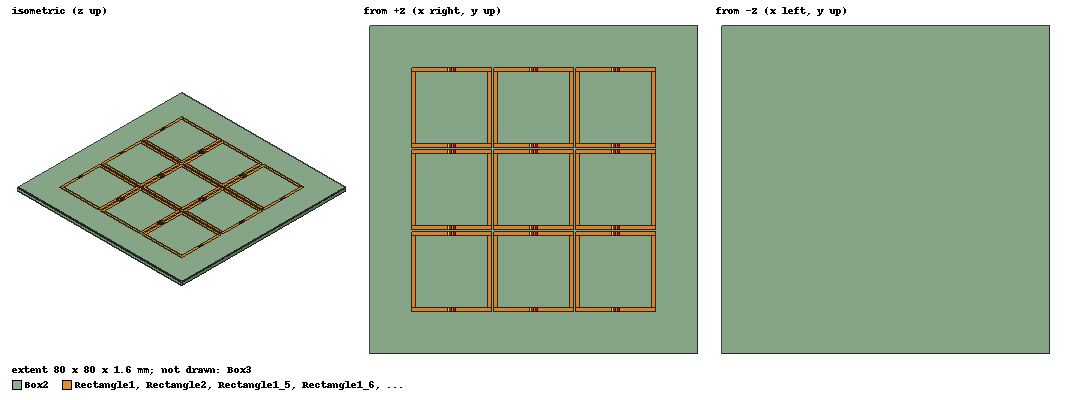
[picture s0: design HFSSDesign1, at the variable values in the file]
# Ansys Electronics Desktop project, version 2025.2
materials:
  vacuum: permittivity=1
  FR4_epoxy: permittivity=4.4 dielectric_loss_tangent=0.02
  air: permittivity=1.0006 permeability=1.0000004

design HFSSDesign1 (HFSS, HFSS Terminal Network, model units mm)
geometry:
  Box2 [FR4_epoxy] = box(corner=(0mm, 0mm, 10mm), size=(80mm, 80mm, 1.6mm))
  Rectangle1 = rectangle(corner=(50.25mm, 68.75mm, 11.6mm), x_size=19.5mm, y_size=1mm)
  Rectangle2 = rectangle(corner=(50.25mm, 50.25mm, 11.6mm), x_size=19.5mm, y_size=1mm)
  Rectangle19 = rectangle(corner=(59mm, 68.75mm, 11.6mm), x_size=2mm, y_size=1mm)
  Rectangle20 = rectangle(corner=(59mm, 50.25mm, 11.6mm), x_size=2mm, y_size=1mm)
  Rectangle2.subtract(Rectangle20)
  Rectangle1.subtract(Rectangle19)
  Rectangle21 = rectangle(corner=(69.75mm, 68.75mm, 11.6mm), x_size=-1mm, y_size=-17.5mm)
  Rectangle22 = rectangle(corner=(51.25mm, 68.75mm, 11.6mm), x_size=-1mm, y_size=-17.5mm)
  Rectangle1_3, Rectangle1_4 = Rectangle1.duplicate_along_line(step=(-20mm, 0mm, 0mm), total=3)
  Rectangle2_3, Rectangle2_4 = Rectangle2.duplicate_along_line(step=(-20mm, 0mm, 0mm), total=3)
  Rectangle21_3, Rectangle21_4 = Rectangle21.duplicate_along_line(step=(-20mm, 0mm, 0mm), total=3)
  Rectangle22_3, Rectangle22_4 = Rectangle22.duplicate_along_line(step=(-20mm, 0mm, 0mm), total=3)
  Box3 [air] = box(corner=(-50mm, -50mm, -75mm), size=(200mm, 200mm, 200mm))
  [Box3, Box2, Rectangle1, Rectangle2, Rectangle21, Rectangle22, Rectangle1_3, Rectangle1_4, Rectangle2_3, Rectangle2_4, Rectangle21_3, Rectangle21_4, Rectangle22_3, Rectangle22_4].move(-40mm, -40mm, 0mm)
  [Box3, Box2, Rectangle1, Rectangle2, Rectangle21, Rectangle22, Rectangle1_3, Rectangle1_4, Rectangle2_3, Rectangle2_4, Rectangle21_3, Rectangle21_4, Rectangle22_3, Rectangle22_4].move(0mm, 0mm, -6.6mm)
  [Box3, Box2, Rectangle1, Rectangle2, Rectangle21, Rectangle22, Rectangle1_3, Rectangle1_4, Rectangle2_3, Rectangle2_4, Rectangle21_3, Rectangle21_4, Rectangle22_3, Rectangle22_4].move(-40mm, 0mm, 3.4mm)
  [Box3, Box2, Rectangle1, Rectangle2, Rectangle21, Rectangle22, Rectangle1_3, Rectangle1_4, Rectangle2_3, Rectangle2_4, Rectangle21_3, Rectangle21_4, Rectangle22_3, Rectangle22_4].move(90mm, 0mm, -5mm)
  [Box3, Box2, Rectangle1, Rectangle2, Rectangle21, Rectangle22, Rectangle1_3, Rectangle1_4, Rectangle2_3, Rectangle2_4, Rectangle21_3, Rectangle21_4, Rectangle22_3, Rectangle22_4].move(1mm, -0.375mm, 2.2mm)
  [Box3, Box2, Rectangle1, Rectangle2, Rectangle21, Rectangle22, Rectangle1_3, Rectangle1_4, Rectangle2_3, Rectangle2_4, Rectangle21_3, Rectangle21_4, Rectangle22_3, Rectangle22_4].move(-49.5mm, 0.375mm, 4.4mm)
  [Box3, Box2, Rectangle1, Rectangle2, Rectangle21, Rectangle22, Rectangle1_3, Rectangle1_4, Rectangle2_3, Rectangle2_4, Rectangle21_3, Rectangle21_4, Rectangle22_3, Rectangle22_4].move(-1.5mm, 0mm, -10mm)
  [Box3, Box2, Rectangle1, Rectangle2, Rectangle21, Rectangle22, Rectangle1_3, Rectangle1_4, Rectangle2_3, Rectangle2_4, Rectangle21_3, Rectangle21_4, Rectangle22_3, Rectangle22_4].move(0mm, 0mm, 5mm)
  [Box3, Box2, Rectangle1, Rectangle2, Rectangle21, Rectangle22, Rectangle1_3, Rectangle1_4, Rectangle2_3, Rectangle2_4, Rectangle21_3, Rectangle21_4, Rectangle22_3, Rectangle22_4].rotate(axis=X, angle=90deg)
  [Box3, Box2, Rectangle1, Rectangle2, Rectangle21, Rectangle22, Rectangle1_3, Rectangle1_4, Rectangle2_3, Rectangle2_4, Rectangle21_3, Rectangle21_4, Rectangle22_3, Rectangle22_4].rotate(axis=X, angle=180deg)
  [Box3, Box2, Rectangle1, Rectangle2, Rectangle21, Rectangle22, Rectangle1_3, Rectangle1_4, Rectangle2_3, Rectangle2_4, Rectangle21_3, Rectangle21_4, Rectangle22_3, Rectangle22_4].rotate(axis=X, angle=-270deg)
  Rectangle1_5, Rectangle1_6 = Rectangle1.duplicate_along_line(step=(0mm, -20mm, 0mm), total=3)
  Rectangle2_5, Rectangle2_6 = Rectangle2.duplicate_along_line(step=(0mm, -20mm, 0mm), total=3)
  Rectangle21_5, Rectangle21_6 = Rectangle21.duplicate_along_line(step=(0mm, -20mm, 0mm), total=3)
  Rectangle22_5, Rectangle22_6 = Rectangle22.duplicate_along_line(step=(0mm, -20mm, 0mm), total=3)
  Rectangle1_3_1, Rectangle1_3_2 = Rectangle1_3.duplicate_along_line(step=(0mm, -20mm, 0mm), total=3)
  Rectangle1_4_1, Rectangle1_4_2 = Rectangle1_4.duplicate_along_line(step=(0mm, -20mm, 0mm), total=3)
  Rectangle2_3_1, Rectangle2_3_2 = Rectangle2_3.duplicate_along_line(step=(0mm, -20mm, 0mm), total=3)
  Rectangle2_4_1, Rectangle2_4_2 = Rectangle2_4.duplicate_along_line(step=(0mm, -20mm, 0mm), total=3)
  Rectangle21_3_1, Rectangle21_3_2 = Rectangle21_3.duplicate_along_line(step=(0mm, -20mm, 0mm), total=3)
  Rectangle21_4_1, Rectangle21_4_2 = Rectangle21_4.duplicate_along_line(step=(0mm, -20mm, 0mm), total=3)
  Rectangle22_3_1, Rectangle22_3_2 = Rectangle22_3.duplicate_along_line(step=(0mm, -20mm, 0mm), total=3)
  Rectangle22_4_1, Rectangle22_4_2 = Rectangle22_4.duplicate_along_line(step=(0mm, -20mm, 0mm), total=3)
  C1 = rectangle(corner=(-21mm, 29.75mm, 5mm), x_size=0.5mm, y_size=-1mm)
  L1 = rectangle(corner=(-20.5mm, 29.75mm, 5mm), x_size=0.5mm, y_size=-1mm)
  R1 = rectangle(corner=(-20mm, 29.75mm, 5mm), x_size=0.5mm, y_size=-1mm)
  C2 = rectangle(corner=(-19.5mm, 29.75mm, 5mm), x_size=0.5mm, y_size=-1mm)
  C1_1 = C1.duplicate_along_line(step=(20mm, 3.5527137e-15mm, 0mm), total=2)
  L1_1 = L1.duplicate_along_line(step=(20mm, 3.5527137e-15mm, 0mm), total=2)
  R1_1 = R1.duplicate_along_line(step=(20mm, 3.5527137e-15mm, 0mm), total=2)
  C2_1 = C2.duplicate_along_line(step=(20mm, 3.5527137e-15mm, 0mm), total=2)
  C1_1_1 = C1_1.duplicate_along_line(step=(20mm, -7.1054274e-15mm, 0mm), total=2)
  L1_1_1 = L1_1.duplicate_along_line(step=(20mm, -7.1054274e-15mm, 0mm), total=2)
  R1_1_1 = R1_1.duplicate_along_line(step=(20mm, -7.1054274e-15mm, 0mm), total=2)
  C2_1_1 = C2_1.duplicate_along_line(step=(20mm, -7.1054274e-15mm, 0mm), total=2)
  C1_2, C1_3 = C1.duplicate_along_line(step=(0mm, -20mm, 0mm), total=3)
  L1_2, L1_3 = L1.duplicate_along_line(step=(0mm, -20mm, 0mm), total=3)
  R1_2, R1_3 = R1.duplicate_along_line(step=(0mm, -20mm, 0mm), total=3)
  C2_2, C2_3 = C2.duplicate_along_line(step=(0mm, -20mm, 0mm), total=3)
  C1_2_1 = C1_2.duplicate_along_line(step=(0mm, 1.5mm, 0mm), total=2)
  L1_2_1 = L1_2.duplicate_along_line(step=(0mm, 1.5mm, 0mm), total=2)
  R1_2_1 = R1_2.duplicate_along_line(step=(0mm, 1.5mm, 0mm), total=2)
  C2_2_1 = C2_2.duplicate_along_line(step=(0mm, 1.5mm, 0mm), total=2)
  C1_2_1_1, C1_2_1_2 = C1_2_1.duplicate_along_line(step=(0mm, -20mm, 0mm), total=3)
  L1_2_1_1, L1_2_1_2 = L1_2_1.duplicate_along_line(step=(0mm, -20mm, 0mm), total=3)
  R1_2_1_1, R1_2_1_2 = R1_2_1.duplicate_along_line(step=(0mm, -20mm, 0mm), total=3)
  C2_2_1_1, C2_2_1_2 = C2_2_1.duplicate_along_line(step=(0mm, -20mm, 0mm), total=3)
  R1_1_2, R1_1_3 = R1_1.duplicate_along_line(step=(0mm, -20mm, 0mm), total=3)
  C2_1_2, C2_1_3 = C2_1.duplicate_along_line(step=(0mm, -20mm, 0mm), total=3)
  L1_1_2, L1_1_3 = L1_1.duplicate_along_line(step=(0mm, -20mm, 0mm), total=3)
  C1_1_2, C1_1_3 = C1_1.duplicate_along_line(step=(0mm, -20mm, 0mm), total=3)
  C1_1_2_1 = C1_1_2.duplicate_along_line(step=(0mm, 1.5mm, 0mm), total=2)
  L1_1_2_1 = L1_1_2.duplicate_along_line(step=(0mm, 1.5mm, 0mm), total=2)
  R1_1_2_1 = R1_1_2.duplicate_along_line(step=(0mm, 1.5mm, 0mm), total=2)
  C2_1_2_1 = C2_1_2.duplicate_along_line(step=(0mm, 1.5mm, 0mm), total=2)
  R1_1_5, R1_1_6 = R1_1.duplicate_along_line(step=(0mm, -20mm, 0mm), total=3)
  C2_1_5, C2_1_6 = C2_1.duplicate_along_line(step=(0mm, -20mm, 0mm), total=3)
  L1_1_5, L1_1_6 = L1_1.duplicate_along_line(step=(0mm, -20mm, 0mm), total=3)
  C1_1_5, C1_1_6 = C1_1.duplicate_along_line(step=(0mm, -20mm, 0mm), total=3)
  C1_1_2_2 = C1_1_2.duplicate_along_line(step=(0mm, -20mm, 0mm), total=3)  # copies kept: 1
  L1_1_2_2 = L1_1_2.duplicate_along_line(step=(0mm, -20mm, 0mm), total=3)  # copies kept: 1
  R1_1_2_2 = R1_1_2.duplicate_along_line(step=(0mm, -20mm, 0mm), total=3)  # copies kept: 1
  C2_1_2_2 = C2_1_2.duplicate_along_line(step=(0mm, -20mm, 0mm), total=3)  # copies kept: 1
  C1_1_2_1_1, C1_1_2_1_2 = C1_1_2_1.duplicate_along_line(step=(0mm, -20mm, 0mm), total=3)
  L1_1_2_1_1, L1_1_2_1_2 = L1_1_2_1.duplicate_along_line(step=(0mm, -20mm, 0mm), total=3)
  R1_1_2_1_1, R1_1_2_1_2 = R1_1_2_1.duplicate_along_line(step=(0mm, -20mm, 0mm), total=3)
  C2_1_2_1_1, C2_1_2_1_2 = C2_1_2_1.duplicate_along_line(step=(0mm, -20mm, 0mm), total=3)
  L1_1_1_1 = L1_1_1.duplicate_along_line(step=(0mm, -18.5mm, 0mm), total=3)  # copies kept: 1
  C1_1_1_1 = C1_1_1.duplicate_along_line(step=(0mm, -18.5mm, 0mm), total=3)  # copies kept: 1
  R1_1_1_1 = R1_1_1.duplicate_along_line(step=(0mm, -18.5mm, 0mm), total=3)  # copies kept: 1
  C2_1_1_1 = C2_1_1.duplicate_along_line(step=(0mm, -18.5mm, 0mm), total=3)  # copies kept: 1
  C1_1_1_1_1 = C1_1_1_1.duplicate_along_line(step=(0mm, -1.5mm, 0mm), total=2)
  L1_1_1_1_1 = L1_1_1_1.duplicate_along_line(step=(0mm, -1.5mm, 0mm), total=2)
  R1_1_1_1_1 = R1_1_1_1.duplicate_along_line(step=(0mm, -1.5mm, 0mm), total=2)
  C2_1_1_1_1 = C2_1_1_1.duplicate_along_line(step=(0mm, -1.5mm, 0mm), total=2)
  C1_1_1_1_2, C1_1_1_1_3 = C1_1_1_1.duplicate_along_line(step=(0mm, -20mm, 0mm), total=3)
  L1_1_1_1_2, L1_1_1_1_3 = L1_1_1_1.duplicate_along_line(step=(0mm, -20mm, 0mm), total=3)
  R1_1_1_1_2, R1_1_1_1_3 = R1_1_1_1.duplicate_along_line(step=(0mm, -20mm, 0mm), total=3)
  C2_1_1_1_2, C2_1_1_1_3 = C2_1_1_1.duplicate_along_line(step=(0mm, -20mm, 0mm), total=3)
  C2_1_1_1_2_1 = C2_1_1_1_2.duplicate_along_line(step=(0mm, -1.5mm, 0mm), total=2)
  R1_1_1_1_2_1 = R1_1_1_1_2.duplicate_along_line(step=(0mm, -1.5mm, 0mm), total=2)
  L1_1_1_1_2_1 = L1_1_1_1_2.duplicate_along_line(step=(0mm, -1.5mm, 0mm), total=2)
  C1_1_1_1_2_1 = C1_1_1_1_2.duplicate_along_line(step=(0mm, -1.5mm, 0mm), total=2)
  group RIS = Box3
  group METASURFACE1 = Rectangle1, Rectangle2, Rectangle21, Rectangle22, Rectangle1_3, Rectangle1_4, Rectangle2_3, Rectangle2_4, Rectangle21_3, Rectangle21_4, Rectangle22_3, Rectangle22_4, Rectangle1_5, Rectangle1_6, Rectangle2_5, Rectangle2_6, Rectangle21_5, Rectangle21_6, Rectangle22_5, Rectangle22_6, Rectangle1_3_1, Rectangle1_3_2, Rectangle1_4_1, Rectangle1_4_2, Rectangle2_3_1, Rectangle2_3_2, Rectangle2_4_1, Rectangle2_4_2, Rectangle21_3_1, Rectangle21_3_2, Rectangle21_4_1, Rectangle21_4_2, Rectangle22_3_1, Rectangle22_3_2, Rectangle22_4_1, Rectangle22_4_2
  group meta = Box2, C1, L1, R1, C2, C1_1, L1_1, R1_1, C2_1, C1_1_1, L1_1_1, R1_1_1, C2_1_1, C1_2, C1_3, L1_2, L1_3, R1_2, R1_3, C2_2, C2_3, C1_2_1, L1_2_1, R1_2_1, C2_2_1, C1_2_1_1, C1_2_1_2, L1_2_1_1, L1_2_1_2, R1_2_1_1, R1_2_1_2, C2_2_1_1, C2_2_1_2, R1_1_2, R1_1_3, C2_1_2, C2_1_3, L1_1_2, L1_1_3, C1_1_2, C1_1_3, C1_1_2_1, L1_1_2_1, R1_1_2_1, C2_1_2_1, R1_1_5, R1_1_6, C2_1_5, C2_1_6, L1_1_5, L1_1_6, C1_1_5, C1_1_6, C1_1_2_2, L1_1_2_2, R1_1_2_2, C2_1_2_2, C1_1_2_1_1, C1_1_2_1_2, L1_1_2_1_1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
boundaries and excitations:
  Rad1: Radiation Objects=Box3
  meta_perfE: Perfect E Objects=[Rectangle2_4, Rectangle21_4, Rectangle22_3, Rectangle2_3, Rectangle21_3, Rectangle22, Rectangle2, Rectangle21, Rectangle1, Rectangle1_3, Rectangle1_4, Rectangle22_4]
  meta_perfE1: Perfect E Objects=[Rectangle2_4_1, Rectangle21_4_1, Rectangle22_3_1, Rectangle2_3_1, Rectangle21_3_1, Rectangle22_5, Rectangle2_5, Rectangle21_5, Rectangle1_5, Rectangle1_3_1, Rectangle1_4_1, Rectangle22_4_1]
  meta_perfE2: Perfect E Objects=[Rectangle2_4_2, Rectangle21_4_2, Rectangle22_3_2, Rectangle2_3_2, Rectangle21_3_2, Rectangle22_6, Rectangle2_6, Rectangle21_6, Rectangle1_6, Rectangle1_3_2, Rectangle1_4_2, Rectangle22_4_2]
  metac1: Lumped RLC Objects=C1 CurrentLine{(-20.5, 29.2, 5) -> (-21, 29.2, 5)} RLC_Type=Serial Capacitance=0.5uF
  metac2: Lumped RLC Objects=C2 CurrentLine{(-19, 29.2, 5) -> (-19.5, 29.2, 5)} RLC_Type=Serial Capacitance=0.5uF
  metal1: Lumped RLC Objects=L1 CurrentLine{(-20, 29.2, 5) -> (-20.5, 29.2, 5)} RLC_Type=Serial Inductance=0.4nH
  metar: Lumped RLC Objects=R1 CurrentLine{(-19.5, 29.2, 5) -> (-20, 29.2, 5)} RLC_Type=Serial Resistance=2ohm
  metac3: Lumped RLC Objects=C1_1 CurrentLine{(-0.5, 29.2, 5) -> (-1, 29.2, 5)} RLC_Type=Serial Capacitance=0.5uF
  metac4: Lumped RLC Objects=C2_1 CurrentLine{(1, 29.2, 5) -> (0.5, 29.2, 5)} RLC_Type=Serial Capacitance=0.5uF
  metal2: Lumped RLC Objects=L1_1 CurrentLine{(0, 29.2, 5) -> (-0.5, 29.2, 5)} RLC_Type=Serial Inductance=0.4nH
  metar1: Lumped RLC Objects=R1_1 CurrentLine{(0.5, 29.2, 5) -> (0, 29.2, 5)} RLC_Type=Serial Resistance=2ohm
  metac5: Lumped RLC Objects=C1_1_1 CurrentLine{(19.5, 29.2, 5) -> (19, 29.2, 5)} RLC_Type=Serial Capacitance=0.5uF
  metac6: Lumped RLC Objects=C2_1_1 CurrentLine{(21, 29.2, 5) -> (20.5, 29.2, 5)} RLC_Type=Serial Capacitance=0.5uF
  metal3: Lumped RLC Objects=L1_1_1 CurrentLine{(20, 29.2, 5) -> (19.5, 29.2, 5)} RLC_Type=Serial Inductance=0.4nH
  metar2: Lumped RLC Objects=R1_1_1 CurrentLine{(20.5, 29.2, 5) -> (20, 29.2, 5)} RLC_Type=Serial Resistance=2ohm
  metac7: Lumped RLC Objects=C1_2 CurrentLine{(-20.5, 9.2, 5) -> (-21, 9.2, 5)} RLC_Type=Serial Capacitance=0.5uF
  metac8: Lumped RLC Objects=C2_2 CurrentLine{(-19, 9.2, 5) -> (-19.5, 9.2, 5)} RLC_Type=Serial Capacitance=0.5uF
  metal4: Lumped RLC Objects=L1_2 CurrentLine{(-20, 9.2, 5) -> (-20.5, 9.2, 5)} RLC_Type=Serial Inductance=0.4nH
  metar3: Lumped RLC Objects=R1_2 CurrentLine{(-19.5, 9.2, 5) -> (-20, 9.2, 5)} RLC_Type=Serial Resistance=2ohm
  metac9: Lumped RLC Objects=C1_3 CurrentLine{(-20.5, -10.8, 5) -> (-21, -10.8, 5)} RLC_Type=Serial Capacitance=0.5uF
  metac10: Lumped RLC Objects=C2_3 CurrentLine{(-19, -10.8, 5) -> (-19.5, -10.8, 5)} RLC_Type=Serial Capacitance=0.5uF
  metal5: Lumped RLC Objects=L1_3 CurrentLine{(-20, -10.8, 5) -> (-20.5, -10.8, 5)} RLC_Type=Serial Inductance=0.4nH
  metar4: Lumped RLC Objects=R1_3 CurrentLine{(-19.5, -10.8, 5) -> (-20, -10.8, 5)} RLC_Type=Serial Resistance=2ohm
  metac11: Lumped RLC Objects=C1_2_1 CurrentLine{(-20.5, 10.7, 5) -> (-21, 10.7, 5)} RLC_Type=Serial Capacitance=0.5uF
  metac12: Lumped RLC Objects=C2_2_1 CurrentLine{(-19, 10.7, 5) -> (-19.5, 10.7, 5)} RLC_Type=Serial Capacitance=0.5uF
  metal6: Lumped RLC Objects=L1_2_1 CurrentLine{(-20, 10.7, 5) -> (-20.5, 10.7, 5)} RLC_Type=Serial Inductance=0.4nH
  metar5: Lumped RLC Objects=R1_2_1 CurrentLine{(-19.5, 10.7, 5) -> (-20, 10.7, 5)} RLC_Type=Serial Resistance=2ohm
  metac13: Lumped RLC Objects=C1_2_1_1 CurrentLine{(-20.5, -9.3, 5) -> (-21, -9.3, 5)} RLC_Type=Serial Capacitance=0.5uF
  metac14: Lumped RLC Objects=C2_2_1_1 CurrentLine{(-19, -9.3, 5) -> (-19.5, -9.3, 5)} RLC_Type=Serial Capacitance=0.5uF
  metal7: Lumped RLC Objects=L1_2_1_1 CurrentLine{(-20, -9.3, 5) -> (-20.5, -9.3, 5)} RLC_Type=Serial Inductance=0.4nH
  metar6: Lumped RLC Objects=R1_2_1_1 CurrentLine{(-19.5, -9.3, 5) -> (-20, -9.3, 5)} RLC_Type=Serial Resistance=2ohm
  metac15: Lumped RLC Objects=C1_2_1_2 CurrentLine{(-20.5, -29.3, 5) -> (-21, -29.3, 5)} RLC_Type=Serial Capacitance=0.5uF
  metac16: Lumped RLC Objects=C2_2_1_2 CurrentLine{(-19, -29.3, 5) -> (-19.5, -29.3, 5)} RLC_Type=Serial Capacitance=0.5uF
  metal8: Lumped RLC Objects=L1_2_1_2 CurrentLine{(-20, -29.3, 5) -> (-20.5, -29.3, 5)} RLC_Type=Serial Inductance=0.4nH
  metar7: Lumped RLC Objects=R1_2_1_2 CurrentLine{(-19.5, -29.3, 5) -> (-20, -29.3, 5)} RLC_Type=Serial Resistance=2ohm
  metac17: Lumped RLC Objects=C1_1_2 CurrentLine{(-0.5, 9.2, 5) -> (-1, 9.2, 5)} RLC_Type=Serial Capacitance=0.5uF
  metac18: Lumped RLC Objects=C2_1_2 CurrentLine{(1, 9.2, 5) -> (0.5, 9.2, 5)} RLC_Type=Serial Capacitance=0.5uF
  metal9: Lumped RLC Objects=L1_1_2 CurrentLine{(0, 9.2, 5) -> (-0.5, 9.2, 5)} RLC_Type=Serial Inductance=0.4nH
  metar8: Lumped RLC Objects=R1_1_2 CurrentLine{(0.5, 9.2, 5) -> (0, 9.2, 5)} RLC_Type=Serial Resistance=2ohm
  metac19: Lumped RLC Objects=C1_1_3 CurrentLine{(-0.5, -10.8, 5) -> (-1, -10.8, 5)} RLC_Type=Serial Capacitance=0.5uF
  metac20: Lumped RLC Objects=C2_1_3 CurrentLine{(1, -10.8, 5) -> (0.5, -10.8, 5)} RLC_Type=Serial Capacitance=0.5uF
  metal10: Lumped RLC Objects=L1_1_3 CurrentLine{(0, -10.8, 5) -> (-0.5, -10.8, 5)} RLC_Type=Serial Inductance=0.4nH
  metar9: Lumped RLC Objects=R1_1_3 CurrentLine{(0.5, -10.8, 5) -> (0, -10.8, 5)} RLC_Type=Serial Resistance=2ohm
  metac23: Lumped RLC Objects=C1_1_2_1 CurrentLine{(-0.5, 10.7, 5) -> (-1, 10.7, 5)} RLC_Type=Serial Capacitance=0.5uF
  metac24: Lumped RLC Objects=C2_1_2_1 CurrentLine{(1, 10.7, 5) -> (0.5, 10.7, 5)} RLC_Type=Serial Capacitance=0.5uF
  metal12: Lumped RLC Objects=L1_1_2_1 CurrentLine{(0, 10.7, 5) -> (-0.5, 10.7, 5)} RLC_Type=Serial Inductance=0.4nH
  metar11: Lumped RLC Objects=R1_1_2_1 CurrentLine{(0.5, 10.7, 5) -> (0, 10.7, 5)} RLC_Type=Serial Resistance=2ohm
  metac25: Lumped RLC Objects=C1_1_5 CurrentLine{(-0.5, 9.2, 5) -> (-1, 9.2, 5)} RLC_Type=Serial Capacitance=0.5uF
  metac26: Lumped RLC Objects=C2_1_5 CurrentLine{(1, 9.2, 5) -> (0.5, 9.2, 5)} RLC_Type=Serial Capacitance=0.5uF
  metal13: Lumped RLC Objects=L1_1_5 CurrentLine{(0, 9.2, 5) -> (-0.5, 9.2, 5)} RLC_Type=Serial Inductance=0.4nH
  metar12: Lumped RLC Objects=R1_1_5 CurrentLine{(0.5, 9.2, 5) -> (0, 9.2, 5)} RLC_Type=Serial Resistance=2ohm
  metac27: Lumped RLC Objects=C1_1_2_2 CurrentLine{(-0.5, -10.8, 5) -> (-1, -10.8, 5)} RLC_Type=Serial Capacitance=0.5uF
  metac28: Lumped RLC Objects=C2_1_2_2 CurrentLine{(1, -10.8, 5) -> (0.5, -10.8, 5)} RLC_Type=Serial Capacitance=0.5uF
  metal14: Lumped RLC Objects=L1_1_2_2 CurrentLine{(0, -10.8, 5) -> (-0.5, -10.8, 5)} RLC_Type=Serial Inductance=0.4nH
  metar13: Lumped RLC Objects=R1_1_2_2 CurrentLine{(0.5, -10.8, 5) -> (0, -10.8, 5)} RLC_Type=Serial Resistance=2ohm
  metac29: Lumped RLC Objects=C1_1_2_1_1 CurrentLine{(-0.5, -9.3, 5) -> (-1, -9.3, 5)} RLC_Type=Serial Capacitance=0.5uF
  metac30: Lumped RLC Objects=C2_1_2_1_1 CurrentLine{(1, -9.3, 5) -> (0.5, -9.3, 5)} RLC_Type=Serial Capacitance=0.5uF
  metal15: Lumped RLC Objects=L1_1_2_1_1 CurrentLine{(0, -9.3, 5) -> (-0.5, -9.3, 5)} RLC_Type=Serial Inductance=0.4nH
  metar14: Lumped RLC Objects=R1_1_2_1_1 CurrentLine{(0.5, -9.3, 5) -> (0, -9.3, 5)} RLC_Type=Serial Resistance=2ohm
  metac31: Lumped RLC Objects=C1_1_6 CurrentLine{(-0.5, -10.8, 5) -> (-1, -10.8, 5)} RLC_Type=Serial Capacitance=0.5uF
  metac32: Lumped RLC Objects=C2_1_6 CurrentLine{(1, -10.8, 5) -> (0.5, -10.8, 5)} RLC_Type=Serial Capacitance=0.5uF
  metal16: Lumped RLC Objects=L1_1_6 CurrentLine{(0, -10.8, 5) -> (-0.5, -10.8, 5)} RLC_Type=Serial Inductance=0.4nH
  metar15: Lumped RLC Objects=R1_1_6 CurrentLine{(0.5, -10.8, 5) -> (0, -10.8, 5)} RLC_Type=Serial Resistance=2ohm
  metac35: Lumped RLC Objects=C1_1_2_1_2 CurrentLine{(-0.5, -29.3, 5) -> (-1, -29.3, 5)} RLC_Type=Serial Capacitance=0.5uF
  metac36: Lumped RLC Objects=C2_1_2_1_2 CurrentLine{(1, -29.3, 5) -> (0.5, -29.3, 5)} RLC_Type=Serial Capacitance=0.5uF
  metal18: Lumped RLC Objects=L1_1_2_1_2 CurrentLine{(0, -29.3, 5) -> (-0.5, -29.3, 5)} RLC_Type=Serial Inductance=0.4nH
  metar17: Lumped RLC Objects=R1_1_2_1_2 CurrentLine{(0.5, -29.3, 5) -> (0, -29.3, 5)} RLC_Type=Serial Resistance=2ohm
  metac37: Lumped RLC Objects=C1_1_1_1 CurrentLine{(19.5, 10.7, 5) -> (19, 10.7, 5)} RLC_Type=Serial Capacitance=0.5uF
  metac38: Lumped RLC Objects=C2_1_1_1 CurrentLine{(21, 10.7, 5) -> (20.5, 10.7, 5)} RLC_Type=Serial Capacitance=0.5uF
  metal19: Lumped RLC Objects=L1_1_1_1 CurrentLine{(20, 10.7, 5) -> (19.5, 10.7, 5)} RLC_Type=Serial Inductance=0.4nH
  metar18: Lumped RLC Objects=R1_1_1_1 CurrentLine{(20.5, 10.7, 5) -> (20, 10.7, 5)} RLC_Type=Serial Resistance=2ohm
  metac39: Lumped RLC Objects=C1_1_1_1_1 CurrentLine{(19.5, 9.2, 5) -> (19, 9.2, 5)} RLC_Type=Serial Capacitance=0.5uF
  metac40: Lumped RLC Objects=C2_1_1_1_1 CurrentLine{(21, 9.2, 5) -> (20.5, 9.2, 5)} RLC_Type=Serial Capacitance=0.5uF
  metal20: Lumped RLC Objects=L1_1_1_1_1 CurrentLine{(20, 9.2, 5) -> (19.5, 9.2, 5)} RLC_Type=Serial Inductance=0.4nH
  metar19: Lumped RLC Objects=R1_1_1_1_1 CurrentLine{(20.5, 9.2, 5) -> (20, 9.2, 5)} RLC_Type=Serial Resistance=2ohm
  metac41: Lumped RLC Objects=C1_1_1_1_2 CurrentLine{(19.5, -9.3, 5) -> (19, -9.3, 5)} RLC_Type=Serial Capacitance=0.5uF
  metac42: Lumped RLC Objects=C2_1_1_1_2 CurrentLine{(21, -9.3, 5) -> (20.5, -9.3, 5)} RLC_Type=Serial Capacitance=0.5uF
  metal21: Lumped RLC Objects=L1_1_1_1_2 CurrentLine{(20, -9.3, 5) -> (19.5, -9.3, 5)} RLC_Type=Serial Inductance=0.4nH
  metar20: Lumped RLC Objects=R1_1_1_1_2 CurrentLine{(20.5, -9.3, 5) -> (20, -9.3, 5)} RLC_Type=Serial Resistance=2ohm
  metac43: Lumped RLC Objects=C1_1_1_1_3 CurrentLine{(19.5, -29.3, 5) -> (19, -29.3, 5)} RLC_Type=Serial Capacitance=0.5uF
  metac44: Lumped RLC Objects=C2_1_1_1_3 CurrentLine{(21, -29.3, 5) -> (20.5, -29.3, 5)} RLC_Type=Serial Capacitance=0.5uF
  metal22: Lumped RLC Objects=L1_1_1_1_3 CurrentLine{(20, -29.3, 5) -> (19.5, -29.3, 5)} RLC_Type=Serial Inductance=0.4nH
  metar21: Lumped RLC Objects=R1_1_1_1_3 CurrentLine{(20.5, -29.3, 5) -> (20, -29.3, 5)} RLC_Type=Serial Resistance=2ohm
  metac45: Lumped RLC Objects=C1_1_1_1_2_1 CurrentLine{(19.5, -10.8, 5) -> (19, -10.8, 5)} RLC_Type=Serial Capacitance=0.5uF
  metac46: Lumped RLC Objects=C2_1_1_1_2_1 CurrentLine{(21, -10.8, 5) -> (20.5, -10.8, 5)} RLC_Type=Serial Capacitance=0.5uF
  metal23: Lumped RLC Objects=L1_1_1_1_2_1 CurrentLine{(20, -10.8, 5) -> (19.5, -10.8, 5)} RLC_Type=Serial Inductance=0.4nH
  metar22: Lumped RLC Objects=R1_1_1_1_2_1 CurrentLine{(20.5, -10.8, 5) -> (20, -10.8, 5)} RLC_Type=Serial Resistance=2ohm
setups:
  Setup1: HfssDriven Frequency=2.4GHz MaxDeltaE=0.1 MaximumPasses=40 MinimumPasses=1 MinimumConvergedPasses=1 PercentRefinement=30 BasisOrder=1 DrivenSolverType="Direct Solver"
    sweep Sweep: 1.2GHz to 5GHz, 401 points; Type=Fast SaveFields
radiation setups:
  Infinite Sphere1: Infinite Sphere Theta=0deg..360deg step 2deg Phi=-180deg..180deg step 2deg
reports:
  Directivity Plot1: dB(DirTotal) vs Phi, Theta on Setup1 : LastAdaptive, Infinite Sphere1 [Freq=2.4GHz]
  Gain Plot1: dB(GainTotal) vs Phi, Theta on Setup1 : LastAdaptive, Infinite Sphere1 [Freq=2.4GHz]
  S Parameter Plot1: dB(S(1,1)) vs Freq on Setup1 : Sweep
